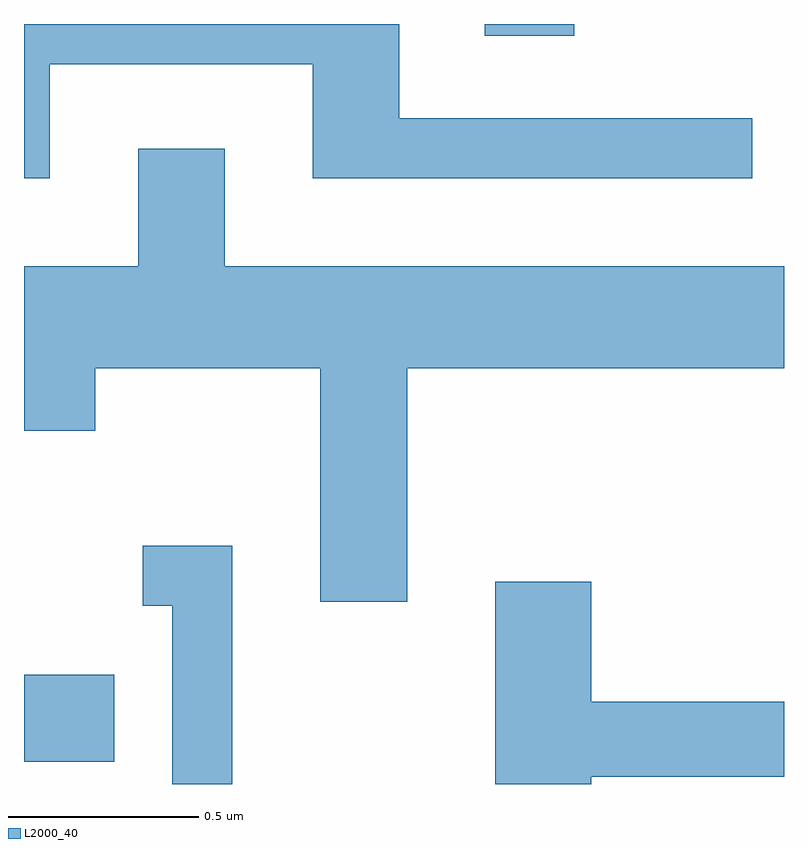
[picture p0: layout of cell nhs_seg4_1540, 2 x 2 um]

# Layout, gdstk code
import gdstk
lib = gdstk.Library(unit=1e-6, precision=1e-09)
def R(c, l, rs):  # rectangles x0, y0, x1, y1
    for r in rs: c.add(gdstk.rectangle(r[:2], r[2:], *l))
def P(c, l, *ps):  # polygons
    for p in ps: c.add(gdstk.Polygon(p, *l))
L2000_40 = (2000, 40)

nhs_seg4_1540 = lib.new_cell('nhs_seg4_1540')
R(nhs_seg4_1540, L2000_40, [(196.611,1287.041,196.849,1287.269), (197.823,1288.951,198.059,1288.982)])
P(nhs_seg4_1540, L2000_40, [(196.679,1288.876),(197.371,1288.876),(197.371,1288.576),(198.528,1288.576),(198.528,1288.734),(197.599,1288.734),(197.599,1288.982),(196.611,1288.982),(196.611,1288.576),(196.679,1288.576)],
  [(197.619,1288.076),(198.611,1288.076),(198.611,1288.344),(197.139,1288.344),(197.139,1288.654),(196.911,1288.654),(196.911,1288.344),(196.611,1288.344),(196.611,1287.911),(196.799,1287.911),(196.799,1288.076),(197.391,1288.076),(197.391,1287.461),(197.619,1287.461)],
  [(197.159,1287.609),(196.923,1287.609),(196.923,1287.451),(197.001,1287.451),(197.001,1286.982),(197.159,1286.982)],
  [(198.104,1287.001),(198.611,1287.001),(198.611,1287.199),(198.104,1287.199),(198.104,1287.514),(197.851,1287.514),(197.851,1286.982),(198.104,1286.982)])

lib.write_gds('nhs_seg4_1540.gds')
